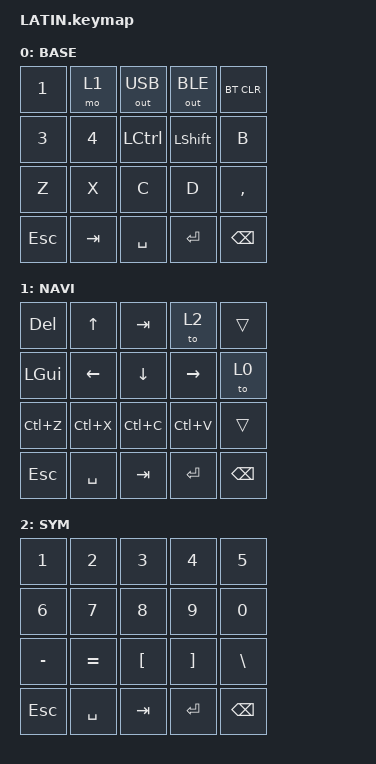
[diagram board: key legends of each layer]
#include <behaviors.dtsi>
#include <dt-bindings/zmk/keys.h>
#include <dt-bindings/zmk/bt.h>
#include <dt-bindings/zmk/outputs.h>

#define BASE 0
#define NAV  1
#define SYM  2

&mt {
    quick-tap-ms = <100>;
    global-quick-tap;
    flavor = "tap-preferred";
    tapping-term-ms = <170>;
};

/ {
    keymap {
        compatible = "zmk,keymap";

        base_layer {
            display-name = "BASE";
            bindings = <
                    &kp N1 &mo 1 &out OUT_USB &out OUT_BLE &bt BT_CLR
                    &kp N3 &kp N4 &kp LCTRL &kp LSHIFT &kp B
                    &kp Z &kp X &kp C &kp D &kp COMMA
                    &kp ESC &kp TAB &kp SPACE &kp RET &kp BSPC
            >;
        };

        nav_layer {
            display-name = "NAVI";
            bindings = <
                    &kp DEL &kp UP &kp TAB &to 2 &trans
                    &kp LGUI &kp LEFT &kp DOWN &kp RIGHT &to 0
                    &kp LC(Z) &kp LC(X) &kp LC(C) &kp LC(V) &trans
                    &kp ESC &kp SPACE &kp TAB &kp RET &kp BSPC
            >;
        };

        sym_layer {
            display-name = "SYM";
            bindings = <
                    &kp N1 &kp N2 &kp N3 &kp N4 &kp N5
                    &kp N6 &kp N7 &kp N8 &kp N9 &kp N0
                    &kp MINUS &kp EQUAL &kp LBKT &kp RBKT &kp BSLH
                    &kp ESC &kp SPACE &kp TAB &kp RET &kp BSPC
            >;
        };
    };
};
